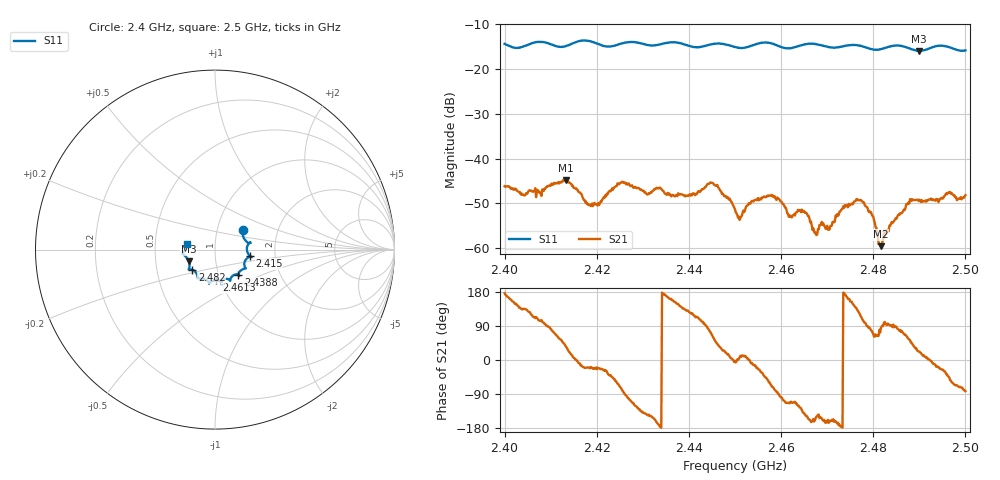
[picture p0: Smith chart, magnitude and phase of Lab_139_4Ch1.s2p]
# Hz S RI R 50
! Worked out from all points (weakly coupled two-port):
!   601 points, 2.4 GHz to 2.5 GHz, reference 50 ohm
!   highest |S21| = -44.77 dB at 2.4133 GHz (marker M1); lowest = -59.6 dB at 2.4817 GHz (marker M2)
!   lowest |S11| = -15.9 dB at 2.4898 GHz (marker M3), VSWR 1.38, Z = 37 - j5.03 ohm
!   |S11| at or under -10 dB: start of sweep to end of sweep
!   S12 and S22 are empty: the file has one direction only
!   S11 on the Smith chart (normalised r, x): 2.4 GHz: 1.33, +0.31; 2.415 GHz: 1.47, -0.11; 2.4388 GHz: 1.24, -0.36; 2.4613 GHz: 0.96, -0.34; 2.482 GHz: 0.76, -0.18; 2.5 GHz: 0.72, +0.05
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2.4e9  0.1559 0.1118  -0.0049 0.000285  0 0  0 0
2.404333e9  0.1756 0.0447  -0.00272 0.00275  0 0  0 0
2.413333e9  0.1809 -0.015  0.00475 0.00328  0 0  0 0
2.415e9  0.1933 -0.035  0.00469 0.000483  0 0  0 0
2.416667e9  0.2044 -0.0422  0.00392 -0.00101  0 0  0 0
2.418667e9  0.201 -0.0394  0.0028 -0.00095  0 0  0 0
2.425e9  0.1657 -0.0953  0.00179 -0.00498  0 0  0 0
2.433333e9  0.1326 -0.1324  -0.00462 -0.000851  0 0  0 0
2.438833e9  0.1293 -0.1396  -0.00279 0.00271  0 0  0 0
2.445e9  0.084 -0.1708  0.00216 0.0049  0 0  0 0
2.45e9  0.0683 -0.1632  0.00271 -9.94e-05  0 0  0 0
2.457833e9  0.0396 -0.1908  0.00156 -0.00353  0 0  0 0
2.461333e9  0.00776 -0.1708  -0.000954 -0.00226  0 0  0 0
2.466667e9  -0.0331 -0.1901  -0.00167 -0.000564  0 0  0 0
2.470333e9  -0.0459 -0.1706  -0.00159 -0.000397  0 0  0 0
2.476833e9  -0.0954 -0.1576  -0.00204 0.00278  0 0  0 0
2.479667e9  -0.1046 -0.1305  0.000528 0.00231  0 0  0 0
2.481667e9  -0.123 -0.1137  9.96e-05 0.00105  0 0  0 0
2.482e9  -0.1264 -0.1122  -1.71e-05 0.00118  0 0  0 0
2.483333e9  -0.1395 -0.1102  -0.000108 0.00154  0 0  0 0
2.489833e9  -0.1457 -0.0662  0.00309 0.0013  0 0  0 0
2.5e9  -0.1587 0.0332  0.000519 -0.00387  0 0  0 0
